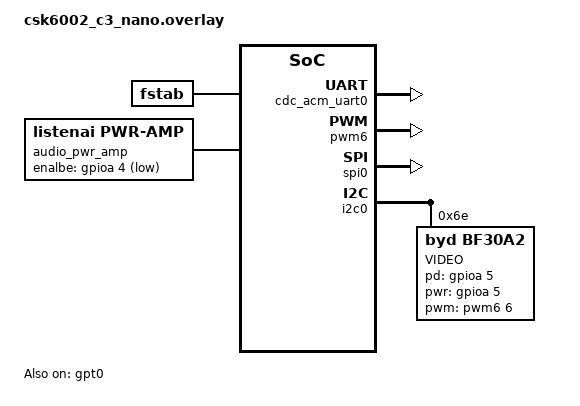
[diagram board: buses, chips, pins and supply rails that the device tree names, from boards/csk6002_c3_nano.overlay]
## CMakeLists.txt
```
cmake_minimum_required(VERSION 3.20.0)
# Copyright (c) 2018 Nordic Semiconductor ASA
# Copyright (c) 2019 Linaro Limited
#
# SPDX-License-Identifier: Apache-2.0
#
#set(ZEPHYR_EXTRA_MODULES $ENV{ZEPHYR_BASE}/../modules/lib/sof_host)

if("${BOARD}" STREQUAL "csk6_tester" OR "${BOARD}" STREQUAL "csk6002_c3_nano"  OR "${BOARD}" STREQUAL "csk6002_9s_nano")
  set(BUILD_DSP_FIRMWARE OFF)
  find_package(Zephyr REQUIRED HINTS $ENV{ZEPHYR_BASE})
  message(INFO " ${BOARD} compile as Master in this sample")
  target_sources(app PRIVATE src/main.c)
  add_subdirectory(./src)
  zephyr_compile_options(-g3 -gdwarf-2)
endif()


if(BUILD_DSP_FIRMWARE)

  set(REMOTE_ZEPHYR_DIR ${CMAKE_CURRENT_BINARY_DIR}/sof-dsp-prefix/src/sof-dsp-build/zephyr)

  if("${BOARD}" STREQUAL "csk6_tester" OR "${BOARD}" STREQUAL "csk6002_c3_nano"  OR "${BOARD}" STREQUAL "csk6002_9s_nano")
    set(BOARD_REMOTE "ls_adsp_csk6")
  else()
    message(FATAL_ERROR "${BOARD} was not supported for this sample")
  endif()

  project(sof-dsp)

  enable_language(C ASM)

  #target_sources(app PRIVATE src/load_fw.c src/mem_image_store.c src/platform_info.c src/zynqmp_csk6_rproc_example.c )

  include(ExternalProject)

  set(ENV{XCC_USE_CLANG} "1")
  set(ENV{ZEPHYR_TOOLCHAIN_VARIANT} "xcc")

  ExternalProject_Add(
    sof_remote
    SOURCE_DIR ${APPLICATION_SOURCE_DIR}/remote
    INSTALL_COMMAND ""      # This particular build system has no install command
    CMAKE_CACHE_ARGS -DBOARD:STRING=${BOARD_REMOTE}
    BUILD_BYPRODUCTS "${REMOTE_ZEPHYR_DIR}/${KERNEL_BIN_NAME}"
    # NB: Do we need to pass on more CMake variables?
    BUILD_ALWAYS True
  )

  unset(ENV{XCC_USE_CLANG})
  unset(ENV{ZEPHYR_TOOLCHAIN_VARIANT})
  target_include_directories(app PRIVATE ${CMAKE_CURRENT_SOURCE_DIR} ./src) 

endif()
```

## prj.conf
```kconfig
CONFIG_PRINTK=y
CONFIG_DEBUG=y
CONFIG_LOG=y
CONFIG_LOG_MODE_IMMEDIATE=y
CONFIG_LOG_DETECT_MISSED_STRDUP=n
CONFIG_LOG_BACKEND_SHOW_COLOR=y
CONFIG_LOG_BACKEND_FORMAT_TIMESTAMP=y
CONFIG_LOG_BACKEND_UART=y
CONFIG_LOG_BACKEND_UART_OUTPUT_TEXT=y
CONFIG_MAIN_STACK_SIZE=2048

#main heap size,users can define it according to the actual usage
CONFIG_HEAP_MEM_POOL_SIZE=92160


#psram init for avf ipc share memory
CONFIG_CSK6_PSRAM=y
CONFIG_NEWLIB_LIBC=y
CONFIG_TEST_RANDOM_GENERATOR=y

#file system for avf tplg and dsp fw storage
CONFIG_FLASH=y
CONFIG_FLASH_MAP=y
CONFIG_FILE_SYSTEM=y
CONFIG_FAT_FILESYSTEM_ELM=y
CONFIG_FS_FATFS_CODEPAGE=936
CONFIG_FS_FATFS_LFN=y
CONFIG_FS_FATFS_MAX_LFN=255
CONFIG_FS_FATFS_LFN_MODE_BSS=y
CONFIG_DISK_DRIVER_FLASH=y
CONFIG_POSIX_MAX_FDS=16 

#usb mass storage for avf tplg and dsp fw update
CONFIG_USB_DEVICE_STACK=y
CONFIG_USB_DEVICE_PRODUCT="Zephyr DFU sample"
CONFIG_USB_MASS_STORAGE=y
CONFIG_MASS_STORAGE_STACK_SIZE=2048
CONFIG_SYSTEM_WORKQUEUE_STACK_SIZE=2048
CONFIG_MASS_STORAGE_DISK_NAME="NAND"

#usb cdc for vcapture data transfer
CONFIG_USB_CDC_ACM=y
CONFIG_UART_LINE_CTRL=y
CONFIG_USB_CDC_ACM_RINGBUF_SIZE=4096

#Fixd for WinUSB driver install.
CONFIG_USB_DEVICE_VID=0x2FE3
CONFIG_USB_DEVICE_PID=0x200

#avf 
CONFIG_SOF_HOST=y
CONFIG_AVF_DEBUG_LEVEL=5
CONFIG_AVF_STREAM_SVR_DEBUG=n
CONFIG_AVF_USE_FS_FATFS=y
#sof example usr lisa heap 96k
CONFIG_LISA_HEAP_ARENA_SIZE=96304

#IPM and GPIO Driver
CONFIG_IPM=y
CONFIG_GPIO=y

#cache
CONFIG_CACHE_MANAGEMENT=y

#shell
CONFIG_SHELL_ARGC_MAX=16
CONFIG_SHELL=y
CONFIG_SHELL_LOG_BACKEND=n

# video
CONFIG_SPI=y
CONFIG_I2C=y
CONFIG_DMA=y
CONFIG_PWM=y
CONFIG_VIDEO=y
CONFIG_VIDEO_BF30A2=y
CONFIG_VIDEO_BUFFER_POOL_SZ_MAX=0
```

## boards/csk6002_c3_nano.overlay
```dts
/*
 * Copyright (c) 2021 listenai Intelligent Technology (anhui) Co., Ltd.
 *
 * SPDX-License-Identifier: Apache-2.0
 */
/delete-node/ &storage_partition;

/ {
	chosen {
		/*
		 * shared memory reserved for the inter-processor communication
		 */
		zephyr,ipc_shm = &sof_partition;
		zephyr,ipc = &mailbox0;
		zephyr,flash_sysfs_storage = &filesystem_part;
		zephyr,flash_controller = &flash;
		zephyr,uart-mcumgr = &uart0;
	};

	aliases {
		avf-audio-pwr-amp = &pwr_amp;
	};

	fstab {
		compatible = "zephyr,fstab";
		lfs1: lfs1 {
			compatible = "zephyr,fstab,littlefs";
			mount-point = "/lfs1";
			partition = <&filesystem_part>;
			automount ;
			no-format;
			read-size = <16>;
			prog-size = <16>;
			cache-size = <64>;
			lookahead-size = <32>;
			block-cycles = <512>;
		};
	};

	pwr_amp:audio_pwr_amp{
		compatible = "listenai,pwr-amp";
		enalbe-gpios = <&gpioa 4 1>;
		label = "audio_pwr_amp";	
		status = "okay";
	};

};

 
&flash0 {
	partitions {
		compatible = "fixed-partitions";
		#address-cells = <1>;
		#size-cells = <1>;
		filesystem_part: partition@160000 {
			label = "filesystem";
			reg = <0x160000 0x00300000>;
		};
		/*
		 * Reserve the final 640 KiB for file system partition
		 */
		storage_partition: partition@460000 {
			label = "storage";
			reg = <0x460000 0x03a0000>;
		};


	};
};

&zephyr_udc0 {
	cdc_acm_uart0 {
		compatible = "zephyr,cdc-acm-uart";
		label = "CDC_ACM_0";
	};
};

&gpt0 {
	status = "okay";
    pwm5: pwm5 {
        status = "disabled";
    };

	pwm4: pwm4 {
		status = "disabled";
    };

	pwm6: pwm6 {
		pinctrl-0 = <&pinctrl_pwm6_default>; 
        pinctrl-names = "default";
        clock-prescaler = <1>;
        status = "okay";
    };	
};

&spi0 {
    status = "okay";
    spi-max-frequency = <25000000>;
};


&i2c0 {
        status = "okay";
        pinctrl-0 = <&pinctrl_i2c0_scl_default &pinctrl_i2c0_sda_default>; 
        pinctrl-names = "default";
        status = "okay";

        bf30a2: bf30a2@6e {
            compatible = "byd,bf30a2";
            status = "okay";
            label = "VIDEO";
            reg = <0x6e>;
            pd-gpios = <&gpioa 5 0>;
            pwr-gpios = <&gpioa 5 0>;
            product-id = <0x3b02>;
            spi = <&spi0>;
			pwms = <&pwm6 6 PWM_POLARITY_NORMAL>;
            xclk-freq = <12500>;
            csk6-spec;
    };
};
```

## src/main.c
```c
/*
 *
 * SPDX-License-Identifier: Apache-2.0
 */
#include <zephyr.h>
#include <device.h>
#include <devicetree.h>

extern void s_fs_mount(void);
extern void sof_domain(void);


void main(void)
{
	s_fs_mount();
#if CONFIG_SOF_HOST
	sof_domain();
#endif
	while (1) {
		k_msleep(1000);
	}
}
```

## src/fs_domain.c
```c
#include <zephyr.h>
#include <fs/fs.h>
#include <devicetree.h>
#if defined(CONFIG_FILE_SYSTEM_LITTLEFS)
#include <fs/littlefs.h>
#include <storage/flash_map.h>

#elif defined(CONFIG_FAT_FILESYSTEM_ELM)
#include <ff.h>
#endif

#if(CONFIG_USB_DEVICE_STACK > 0)
#include <usb/usb_device.h>
#endif

#if defined(CONFIG_FILE_SYSTEM_LITTLEFS) || defined(CONFIG_FAT_FILESYSTEM_ELM)

#if defined(CONFIG_FILE_SYSTEM_LITTLEFS)
/* Matches LFS_NAME_MAX */
#define MAX_PATH_LEN 255
#define PARTITION_NODE DT_NODELABEL(lfs1)
#if DT_NODE_EXISTS(PARTITION_NODE)
FS_FSTAB_DECLARE_ENTRY(PARTITION_NODE);
struct fs_mount_t *p_g_fs_mount = &FS_FSTAB_ENTRY(PARTITION_NODE);
#else /* PARTITION_NODE */
#error "Please declare the region of the file system first"
#endif /* PARTITION_NODE */
#elif defined(CONFIG_FAT_FILESYSTEM_ELM)
#if defined(CONFIG_AVF_FS_MOUNT_POINT)
#define FS_MOUNT_POINT CONFIG_AVF_FS_MOUNT_POINT
#else
#define FS_MOUNT_POINT "/NAND:" 
#endif

struct fs_mount_t *p_g_fs_mount = NULL;
static struct fs_mount_t fs_mount_p;
static FATFS s_fat_fs;

#endif

static void s_fs_show(struct fs_mount_t *mp)
{
	struct fs_statvfs sbuf;
	int rc;

	rc = fs_statvfs(mp->mnt_point, &sbuf);
	if (rc < 0) {
		printk("FAIL: statvfs: %d\n", rc);
		goto out;
	}

	printk("%s: bsize = %lu ; frsize = %lu ;"
	       " blocks = %lu ; bfree = %lu\n",
	       mp->mnt_point, sbuf.f_bsize, sbuf.f_frsize, sbuf.f_blocks, sbuf.f_bfree);

	struct fs_dir_t dir;

	fs_dir_t_init(&dir);

	rc = fs_opendir(&dir, mp->mnt_point);
	printk("%s opendir: %d\n", mp->mnt_point, rc);

	while (rc >= 0) {
		struct fs_dirent ent = { 0 };

		rc = fs_readdir(&dir, &ent);
		if (rc < 0) {
			break;
		}
		if (ent.name[0] == 0) {
			printk("End of files\n");
			break;
		}
		printk("  %c %zu %s\n", (ent.type == FS_DIR_ENTRY_FILE) ? 'F' : 'D', ent.size,
		       ent.name);
	}

	(void)fs_closedir(&dir);
	printk("%s closedir\n", mp->mnt_point);
out:
	return;
}

static int s_fs_init(void)
{
	struct fs_mount_t *mp;
	int rc;

#if defined(CONFIG_FILE_SYSTEM_LITTLEFS)
	mp = p_g_fs_mount;
	/* Do not mount if auto-mount has been enabled */
#if !DT_NODE_EXISTS(PARTITION_NODE) ||                                                             \
	!(FSTAB_ENTRY_DT_MOUNT_FLAGS(PARTITION_NODE) & FS_MOUNT_FLAG_AUTOMOUNT)

	rc = fs_mount(mp);
	if (rc < 0) {
		printk("FAIL: mount id %" PRIuPTR " at %s: %d\n", (uintptr_t)mp->storage_dev,
		       mp->mnt_point, rc);
		return rc;
	}
	printk("%s mount: %d\n", mp->mnt_point, rc);
#else
	printk("%s automounted\n", mp->mnt_point);
#endif

#elif defined(CONFIG_FAT_FILESYSTEM_ELM)
	if (p_g_fs_mount != NULL) {
		printk("The mount point<%s> busy!\n", p_g_fs_mount->mnt_point);
		return -1;
	}
	p_g_fs_mount = &fs_mount_p;
	mp = p_g_fs_mount;
	memset(mp, 0, sizeof(struct fs_mount_t));
	mp->type = FS_FATFS;
	/*mp->flags |= FS_MOUNT_FLAG_NO_FORMAT;*/
	mp->fs_data = &s_fat_fs;
	mp->mnt_point = FS_MOUNT_POINT;
	rc = fs_mount(mp);
	if (rc < 0) {
		printk("FAIL: mount id %" PRIuPTR " at %s: %d\n", (uintptr_t)mp->storage_dev,
		       mp->mnt_point, rc);
		return rc;
	}
	printk("%s mount: %d\n", mp->mnt_point, rc);
#endif
	s_fs_show(mp);

	return 0;
}
#endif

void s_fs_mount(void)
{
	int ret;
//file system init
#if defined(CONFIG_FILE_SYSTEM_LITTLEFS) || defined(CONFIG_FAT_FILESYSTEM_ELM)
	s_fs_init();
#else
	#error "Please define file system type!"
#endif

#if defined(CONFIG_FAT_FILESYSTEM_ELM)&&(CONFIG_USB_DEVICE_STACK > 0)
	ret = usb_enable(NULL);
	if (ret != 0) {
		printk("Failed to enable USB");
		return;
	}
#elif defined(CONFIG_FILE_SYSTEM_LITTLEFS)
	if(0 != strcmp(CONFIG_AVF_FS_MOUNT_POINT,p_g_fs_mount->mnt_point)){
		__ASSERT(0,"The avf fs mount point error!");
	}
#endif
}
```
